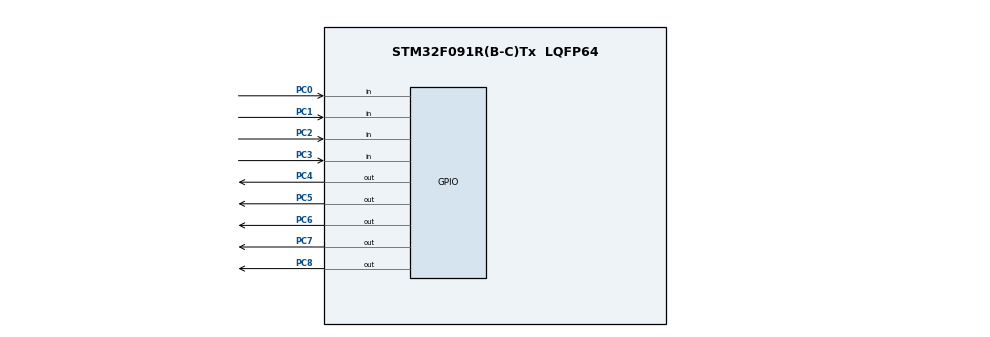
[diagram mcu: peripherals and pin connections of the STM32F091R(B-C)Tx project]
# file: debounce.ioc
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Mcu.Family=STM32F0
Mcu.Name=STM32F091R(B-C)Tx
Mcu.Package=LQFP64
PA13.Mode=Serial_Wire
PA13.Signal=SYS_SWDIO
PA14.Mode=Serial_Wire
PA14.Signal=SYS_SWCLK
PC0.GPIO_PuPd=GPIO_PULLDOWN
PC0.Signal=GPIO_Input
PC1.GPIO_PuPd=GPIO_PULLDOWN
PC1.Signal=GPIO_Input
PC2.GPIO_PuPd=GPIO_PULLDOWN
PC2.Signal=GPIO_Input
PC3.GPIO_PuPd=GPIO_PULLDOWN
PC3.Signal=GPIO_Input
PC4.Signal=GPIO_Output
PC5.Signal=GPIO_Output
PC6.Signal=GPIO_Output
PC7.Signal=GPIO_Output
PC8.Signal=GPIO_Output
ProjectManager.HeapSize=0x200
ProjectManager.StackSize=0x400
ProjectManager.TargetToolchain=STM32CubeIDE
TIM6.AutoReloadPreload=TIM_AUTORELOAD_PRELOAD_ENABLE
TIM6.Period=1000-1
TIM6.Prescaler=48-1
VP_TIM6_VS_ClockSourceINT.Mode=Enable_Timer
board=custom

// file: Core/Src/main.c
/* USER CODE BEGIN Header */
/**
  ******************************************************************************
  * @file           : main.c
  * @brief          : Main program body
  ******************************************************************************
  * @attention
  *
  * Copyright (c) 2024 STMicroelectronics.
  * All rights reserved.
  *
  * This software is licensed under terms that can be found in the LICENSE file
  * in the root directory of this software component.
  * If no LICENSE file comes with this software, it is provided AS-IS.
  *
  ******************************************************************************
  */
/* USER CODE END Header */
#include "main.h"

/* USER CODE BEGIN PD */
#define ROWS 4
#define COLS 4
#define LED_PIN GPIO_PIN_15 // replace X with your actual pin number
#define LED_PORT GPIOC
/* USER CODE END PD */

TIM_HandleTypeDef htim6;

/* USER CODE BEGIN PV */
uint8_t debounce_status[ROWS][COLS] = {0};

// ROWS 1-4 is PC3-PC0 as GPIO_INPUTS and pulled down
// COL 1-4 is PC7-PC4 as GPIO_OUTPUTS
GPIO_TypeDef* ROW_PORT[ROWS] = {GPIOC, GPIOC, GPIOC, GPIOC};
uint16_t ROW_PIN[ROWS] = {GPIO_PIN_3, GPIO_PIN_2, GPIO_PIN_1, GPIO_PIN_0};

GPIO_TypeDef* COL_PORT[COLS] = {GPIOC, GPIOC, GPIOC, GPIOC};
uint16_t COL_PIN[COLS] = {GPIO_PIN_7, GPIO_PIN_6, GPIO_PIN_5, GPIO_PIN_4};

/* USER CODE END PV */

void SystemClock_Config(void);
static void MX_GPIO_Init(void);
static void MX_TIM6_Init(void);
void scan_keypad_debounced(void);

int main(void)
{

  /* MCU Configuration--------------------------------------------------------*/

  /* Reset of all peripherals, Initializes the Flash interface and the Systick. */
  HAL_Init();

  /* Configure the system clock */
  SystemClock_Config();

  /* Initialize all configured peripherals */
  MX_GPIO_Init();
  MX_TIM6_Init();
  /* USER CODE BEGIN 2 */
  HAL_TIM_Base_Start_IT(&htim6); //start timer
  /* USER CODE END 2 */

  /* Infinite loop */
  while (1)
  {

  }
}

void SystemClock_Config(void)
{
  RCC_OscInitTypeDef RCC_OscInitStruct = {0};
  RCC_ClkInitTypeDef RCC_ClkInitStruct = {0};

  /** Initializes the RCC Oscillators according to the specified parameters
  * in the RCC_OscInitTypeDef structure.
  */
  RCC_OscInitStruct.OscillatorType = RCC_OSCILLATORTYPE_HSI;
  RCC_OscInitStruct.HSIState = RCC_HSI_ON;
  RCC_OscInitStruct.HSICalibrationValue = RCC_HSICALIBRATION_DEFAULT;
  RCC_OscInitStruct.PLL.PLLState = RCC_PLL_NONE;
  if (HAL_RCC_OscConfig(&RCC_OscInitStruct) != HAL_OK)
  {
    Error_Handler();
  }

  /** Initializes the CPU, AHB and APB buses clocks
  */
  RCC_ClkInitStruct.ClockType = RCC_CLOCKTYPE_HCLK|RCC_CLOCKTYPE_SYSCLK
                              |RCC_CLOCKTYPE_PCLK1;
  RCC_ClkInitStruct.SYSCLKSource = RCC_SYSCLKSOURCE_HSI;
  RCC_ClkInitStruct.AHBCLKDivider = RCC_SYSCLK_DIV1;
  RCC_ClkInitStruct.APB1CLKDivider = RCC_HCLK_DIV1;

  if (HAL_RCC_ClockConfig(&RCC_ClkInitStruct, FLASH_LATENCY_0) != HAL_OK)
  {
    Error_Handler();
  }
}

static void MX_TIM6_Init(void)
{

  TIM_MasterConfigTypeDef sMasterConfig = {0};

  htim6.Instance = TIM6;
  htim6.Init.Prescaler = 48-1;
  htim6.Init.CounterMode = TIM_COUNTERMODE_UP;
  htim6.Init.Period = 1000-1;
  htim6.Init.AutoReloadPreload = TIM_AUTORELOAD_PRELOAD_ENABLE;
  if (HAL_TIM_Base_Init(&htim6) != HAL_OK)
  {
    Error_Handler();
  }
  sMasterConfig.MasterOutputTrigger = TIM_TRGO_RESET;
  sMasterConfig.MasterSlaveMode = TIM_MASTERSLAVEMODE_DISABLE;
  if (HAL_TIMEx_MasterConfigSynchronization(&htim6, &sMasterConfig) != HAL_OK)
  {
    Error_Handler();
  }

}

static void MX_GPIO_Init(void)
{
  GPIO_InitTypeDef GPIO_InitStruct = {0};
/* USER CODE BEGIN MX_GPIO_Init_1 */
  GPIO_InitStruct.Pin = LED_PIN;
  GPIO_InitStruct.Mode = GPIO_MODE_OUTPUT_PP;
  GPIO_InitStruct.Pull = GPIO_NOPULL;
  GPIO_InitStruct.Speed = GPIO_SPEED_FREQ_LOW;
  HAL_GPIO_Init(LED_PORT, &GPIO_InitStruct);

  HAL_GPIO_WritePin(LED_PORT, LED_PIN, GPIO_PIN_RESET);
/* USER CODE END MX_GPIO_Init_1 */

  /* GPIO Ports Clock Enable */
  __HAL_RCC_GPIOC_CLK_ENABLE();
  __HAL_RCC_GPIOA_CLK_ENABLE();

  /*Configure GPIO pin Output Level */
  HAL_GPIO_WritePin(GPIOC, GPIO_PIN_4|GPIO_PIN_5|GPIO_PIN_6|GPIO_PIN_7
                          |GPIO_PIN_8, GPIO_PIN_RESET);

  /*Configure GPIO pins : PC0 PC1 PC2 PC3 */
  GPIO_InitStruct.Pin = GPIO_PIN_0|GPIO_PIN_1|GPIO_PIN_2|GPIO_PIN_3;
  GPIO_InitStruct.Mode = GPIO_MODE_INPUT;
  GPIO_InitStruct.Pull = GPIO_PULLDOWN;
  HAL_GPIO_Init(GPIOC, &GPIO_InitStruct);

  /*Configure GPIO pins : PC4 PC5 PC6 PC7
                           PC8 */
  GPIO_InitStruct.Pin = GPIO_PIN_4|GPIO_PIN_5|GPIO_PIN_6|GPIO_PIN_7
                          |GPIO_PIN_8;
  GPIO_InitStruct.Mode = GPIO_MODE_OUTPUT_PP;
  GPIO_InitStruct.Pull = GPIO_NOPULL;
  GPIO_InitStruct.Speed = GPIO_SPEED_FREQ_LOW;
  HAL_GPIO_Init(GPIOC, &GPIO_InitStruct);

}

/* USER CODE BEGIN 4 */
//interrupt handler
void TIM6_DAC_IRQHandler(void)
{
  HAL_TIM_IRQHandler(&htim6);
}

void HAL_TIM_PeriodElapsedCallback(TIM_HandleTypeDef *htim)
{
  if (htim->Instance == TIM6) {
    scan_keypad_debounced();
  }
}

void scan_keypad_debounced(void){
    static uint8_t previous_state[ROWS][COLS] = {0};
    static uint8_t press_counter[ROWS][COLS] = {0};
    const uint8_t debounce_threshold = 10;

    for (uint8_t col = 0; col < COLS; col++) {
        HAL_GPIO_WritePin(COL_PORT[col], COL_PIN[col], GPIO_PIN_RESET);
        for (uint8_t row = 0; row < ROWS; row++) {
            uint8_t current_state = HAL_GPIO_ReadPin(ROW_PORT[row], ROW_PIN[row]);
            if (current_state != previous_state[row][col]) {
                press_counter[row][col] = 0; // reset counter if state changed
            } else {
                if (press_counter[row][col] < debounce_threshold) {
                    press_counter[row][col]++; // increment counter
                } else if (debounce_status[row][col] != current_state) {
                    debounce_status[row][col] = current_state; // update debounced state
                    if (current_state == GPIO_PIN_RESET) {
                        // turn on after key preessed
                        HAL_GPIO_WritePin(LED_PORT, LED_PIN, GPIO_PIN_SET);
                    } else {
                        // turn off after key released
                        HAL_GPIO_WritePin(LED_PORT, LED_PIN, GPIO_PIN_RESET);
                    }
                }
            }
            previous_state[row][col] = current_state;
        }
        HAL_GPIO_WritePin(COL_PORT[col], COL_PIN[col], GPIO_PIN_SET);
    }
}
    /*
	    for (uint8_t col = 0; col < COLS; col++){
			// Set the current column to low
			HAL_GPIO_WritePin(COL_PORT[col], COL_PIN[col], GPIO_PIN_RESET);

			for (uint8_t row = 0; row < ROWS; row++){
				// Check if the row is low (button pressed)
				if (HAL_GPIO_ReadPin(ROW_PORT[row], ROW_PIN[row]) == GPIO_PIN_RESET){
					// key pressed
					// Do something based on the key press
					// For example, map the row and column to a specific function or value
				}
			}
			// set  current column back to high
			HAL_GPIO_WritePin(COL_PORT[col], COL_PIN[col], GPIO_PIN_SET);
    	}
    */
/* USER CODE END 4 */

void Error_Handler(void)
{
  __disable_irq();
  while (1)
  {
  }
}
